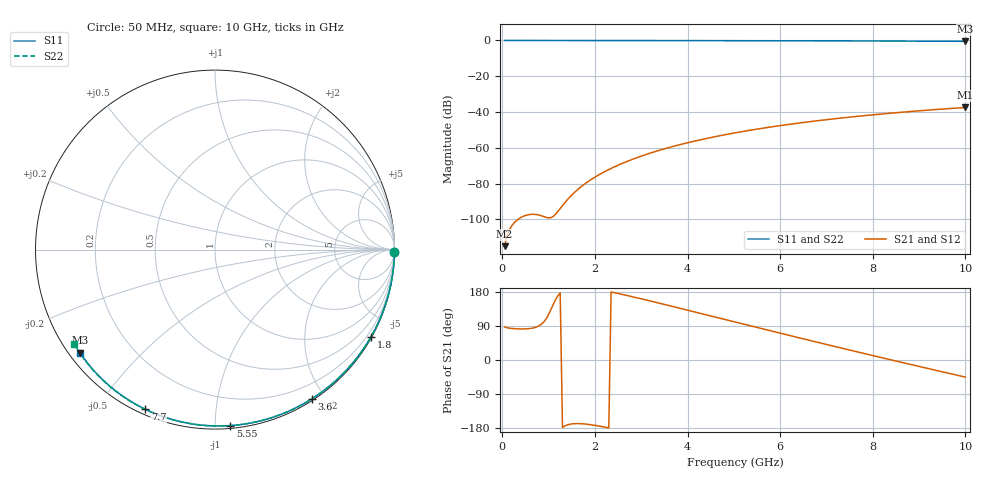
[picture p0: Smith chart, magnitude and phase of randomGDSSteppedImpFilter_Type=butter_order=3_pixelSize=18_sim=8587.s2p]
! freq	dB(S11)	phase(S11)	dB(S12)	phase(S12)
!  dB(S21)	phase(S21)	dB(S22)	phase(S22)
!S-par simulation data
#  GHz  S  DB  R 50
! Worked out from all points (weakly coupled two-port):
!   200 points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, 50 MHz to 10 GHz, reference 50 ohm
!   highest |S21| = -37.47 dB at 10 GHz (marker M1); lowest = -115.0 dB at 50 MHz (marker M2)
!   lowest |S11| = -0.5 dB at 10 GHz (marker M3), VSWR 36.19, Z = 1.54 - j16.9 ohm
!   |S11| at or under -10 dB: nowhere
!   |S22| runs from -0.5 to 0.0 dB; largest |S21 - S12| = 0
!   S11 on the Smith chart (normalised r, x): 50 MHz: open; 1.8 GHz: 0.03, -3.83; 3.6 GHz: 0.02, -1.84; 5.55 GHz: 0.02, -1.09; 7.7 GHz: 0.02, -0.65; 10 GHz: 0.03, -0.34
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0.05  -0.00 -0.8  -115.01 87.4  -115.01 87.4  -0.00 -0.9
0.45  -0.01 -7.4  -98.35 82.0  -98.35 82.0  -0.01 -7.6
0.9  -0.02 -14.8  -98.48 101.1  -98.48 101.1  -0.02 -15.2
1.3  -0.03 -21.2  -92.28 -177.9  -92.28 -177.9  -0.03 -21.9
1.75  -0.04 -28.4  -80.79 -168.5  -80.79 -168.5  -0.04 -29.3
1.8  -0.04 -29.2  -79.83 -169.1  -79.83 -169.1  -0.04 -30.1
1.95  -0.04 -31.6  -77.21 -171.5  -77.21 -171.5  -0.04 -32.5
2.1  -0.04 -34.0  -74.90 -174.5  -74.90 -174.5  -0.04 -35.0
2.3  -0.05 -37.1  -72.16 -179.2  -72.16 -179.2  -0.05 -38.2
2.5  -0.05 -40.3  -69.74 175.6  -69.74 175.6  -0.05 -41.4
2.9  -0.06 -46.5  -65.59 164.4  -65.59 164.4  -0.06 -47.8
3.4  -0.07 -54.1  -61.34 149.7  -61.34 149.7  -0.07 -55.6
3.6  -0.08 -57.1  -59.86 143.7  -59.86 143.7  -0.08 -58.7
4.3  -0.09 -67.4  -55.40 122.4  -55.40 122.4  -0.10 -69.2
5.05  -0.12 -78.1  -51.54 99.6  -51.54 99.6  -0.12 -80.2
5.55  -0.14 -85.1  -49.36 84.4  -49.36 84.4  -0.14 -87.3
6.1  -0.16 -92.6  -47.24 67.8  -47.24 67.8  -0.17 -95.0
6.7  -0.19 -100.6  -45.21 49.8  -45.21 49.8  -0.20 -103.2
7.7  -0.26 -113.6  -42.33 20.4  -42.33 20.4  -0.27 -116.5
8.35  -0.31 -121.8  -40.74 1.6  -40.74 1.6  -0.32 -124.9
9.2  -0.39 -132.5  -38.93 -22.7  -38.93 -22.7  -0.40 -135.8
10  -0.48 -142.6  -37.47 -45.1  -37.47 -45.1  -0.49 -146.1
